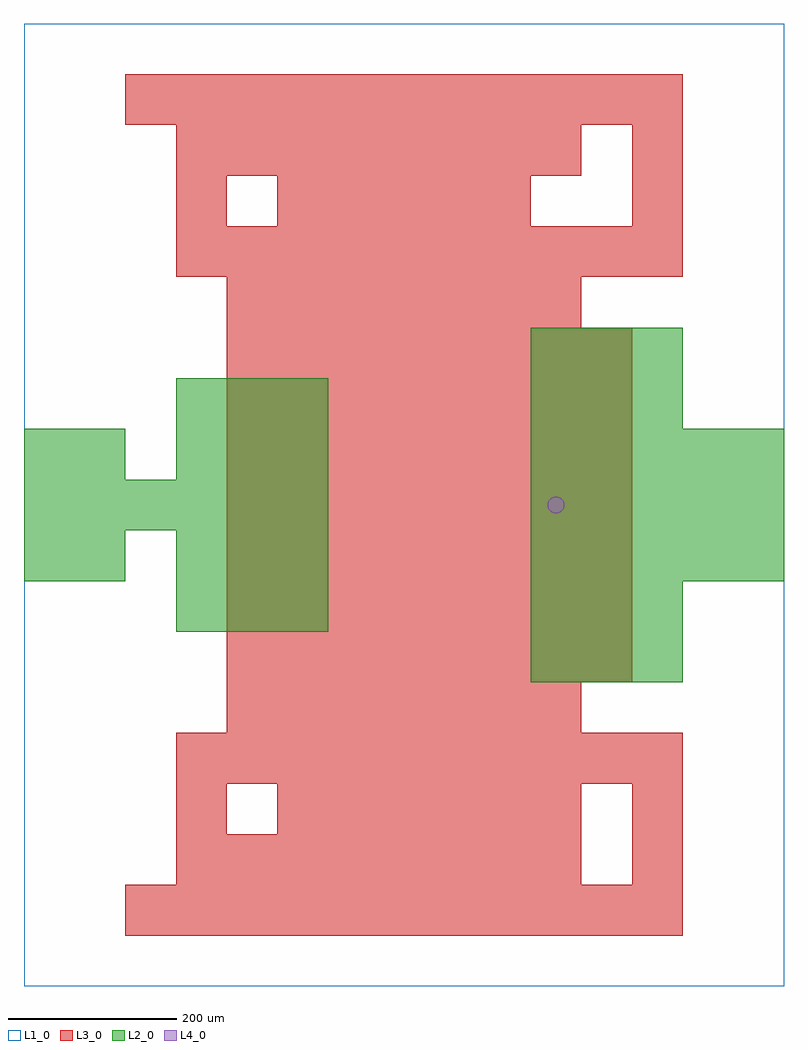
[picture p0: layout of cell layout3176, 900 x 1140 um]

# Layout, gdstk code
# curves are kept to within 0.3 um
import gdstk
lib = gdstk.Library(unit=1e-6, precision=1e-09)
def R(c, l, rs):  # rectangles x0, y0, x1, y1
    for r in rs: c.add(gdstk.rectangle(r[:2], r[2:], *l))
def A(c, l, x, y, w, h, nx, ny, dx, dy):  # array of equal rectangles
    R(c, l, [(x+i*dx, y+j*dy, x+i*dx+w, y+j*dy+h) for i in range(nx) for j in range(ny)])
def P(c, l, *ps):  # polygons
    for p in ps: c.add(gdstk.Polygon(p, *l))
L1_0 = (1, 0)
L2_0 = (2, 0)
L3_0 = (3, 0)
L4_0 = (4, 0)

layout3176 = lib.new_cell('layout3176')
R(layout3176, L1_0, [(0,0,900,1140)])
A(layout3176, L2_0, 600, 360, 60, 60, 3, 2, 60, 60)
A(layout3176, L2_0, 180, 420, 60, 60, 3, 2, 60, 60)
A(layout3176, L2_0, 600, 480, 60, 60, 5, 3, 60, 60)
A(layout3176, L2_0, 0, 540, 60, 60, 6, 1, 60, 0)
A(layout3176, L2_0, 180, 600, 60, 60, 3, 2, 60, 60)
A(layout3176, L2_0, 600, 660, 60, 60, 3, 2, 60, 60)
R(layout3176, L2_0, [(0,480,60,540), (60,480,120,540), (0,600,60,660), (60,600,120,660)])
A(layout3176, L3_0, 120, 60, 60, 60, 11, 2, 60, 960)
A(layout3176, L3_0, 180, 120, 60, 60, 8, 2, 60, 840)
A(layout3176, L3_0, 300, 180, 60, 60, 6, 1, 60, 0)
A(layout3176, L3_0, 180, 240, 60, 60, 10, 2, 60, 600)
A(layout3176, L3_0, 240, 300, 60, 60, 7, 2, 60, 480)
A(layout3176, L3_0, 240, 360, 60, 60, 8, 7, 60, 60)
A(layout3176, L3_0, 300, 900, 60, 60, 5, 1, 60, 0)
R(layout3176, L3_0, [(720,120,780,180), (180,180,240,240), (720,180,780,240), (180,900,240,960), (720,900,780,960), (720,960,780,1020)])
P(layout3176, L4_0, [(640,570),(639.239,573.827),(637.071,577.071),(633.827,579.239),(630,580),(626.173,579.239),(622.929,577.071),(620.761,573.827),(620,570),(620.761,566.173),(622.929,562.929),(626.173,560.761),(630,560),(633.827,560.761),(637.071,562.929),(639.239,566.173)])

lib.write_gds('layout3176.gds')
